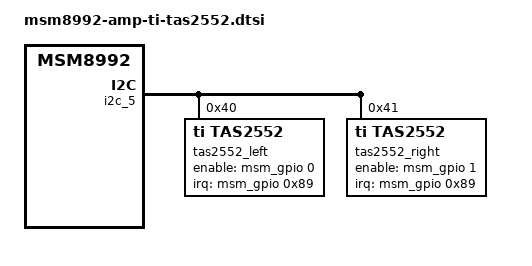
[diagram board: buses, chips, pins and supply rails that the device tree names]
/* Copyright (c) 2014, The Linux Foundation. All rights reserved.
 *
 * This program is free software; you can redistribute it and/or modify
 * it under the terms of the GNU General Public License version 2 and
 * only version 2 as published by the Free Software Foundation.
 *
 * This program is distributed in the hope that it will be useful,
 * but WITHOUT ANY WARRANTY; without even the implied warranty of
 * MERCHANTABILITY or FITNESS FOR A PARTICULAR PURPOSE.  See the
 * GNU General Public License for more details.
 */

&soc {
	i2c_5: i2c@f9967000 {
		#address-cells = <1>;
		#size-cells = <0>;
		compatible = "qcom,i2c-msm-v2";

		// TAS2552 at address 0x40
		tas2552_left: tas2552@40 {
			compatible = "ti,tas2552";
			status = "okay";
			reg = <0x40>;
			pinctrl-names = "default", "sleep";
			pinctrl-0 = <&tas2552_active>;
			pinctrl-1 = <&tas2552_sleep>;
			ti,enable-gpio = <&msm_gpio 0 GPIO_ACTIVE_HIGH>;
			ti,label = "amplifier_l";
			ti,gain = <0x1f>;
			ti,idle-timeout-ms = <20>;
			ti,max-runtime-ms = <15000>;
			interrupts = <0x89>;
			interrupt-parent = <&msm_gpio>;
		};

		// TAS2552 at address 0x41 (if applicable)
		tas2552_right: tas2552@41 {
			compatible = "ti,tas2552";
			status = "okay";
			reg = <0x41>;
			pinctrl-names = "default", "sleep";
			pinctrl-0 = <&tas2552_active>;
			pinctrl-1 = <&tas2552_sleep>;
			ti,enable-gpio = <&msm_gpio 1 GPIO_ACTIVE_HIGH>;
			ti,label = "amplifier_r";
			ti,gain = <0x1f>;
			ti,idle-timeout-ms = <20>;
			ti,max-runtime-ms = <15000>;
			interrupts = <0x89>;
			interrupt-parent = <&msm_gpio>;
		};
	};
};
